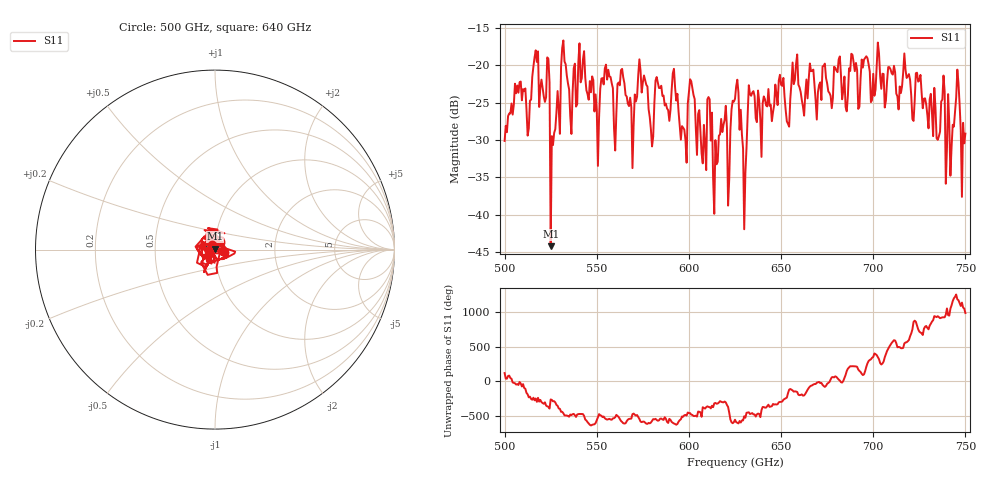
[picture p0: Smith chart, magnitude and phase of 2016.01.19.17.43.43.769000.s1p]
!Created with skrf (http://scikit-rf.org).
# GHz S RI R 50.0
!freq ReS11 ImS11
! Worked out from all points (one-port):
!   401 points, 500 GHz to 750 GHz, reference 50 ohm
!   lowest |S11| = -44.2 dB at 525 GHz (marker M1), VSWR 1.01, Z = 49.9 + j0.612 ohm
!   |S11| at or under -10 dB: start of sweep to end of sweep
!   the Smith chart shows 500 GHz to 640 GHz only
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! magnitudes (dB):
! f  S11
! 500 GHz  -30.1
! 506.9 GHz  -22.7
! 513.1 GHz  -28.5
! 516.9 GHz  -18.0
! 523.1 GHz  -19.0
! 525 GHz  -44.2
! 526.2 GHz  -30.7
! 531.2 GHz  -17.7
! 541.9 GHz  -21.7
! 550 GHz  -26.0
! 562.5 GHz  -22.7
! 568.8 GHz  -25.7
! 573.8 GHz  -20.7
! 579.4 GHz  -28.6
! 583.1 GHz  -22.3
! 593.8 GHz  -23.8
! 597.5 GHz  -28.6
! 601.9 GHz  -23.1
! 608.1 GHz  -28.0
! 611.2 GHz  -24.6
! 614.4 GHz  -30.0
! 625 GHz  -24.5
! 630 GHz  -42.0
! 633.8 GHz  -24.1
! 656.2 GHz  -19.6
! 687.5 GHz  -20.8
! 718.8 GHz  -21.5
! 750 GHz  -29.2
